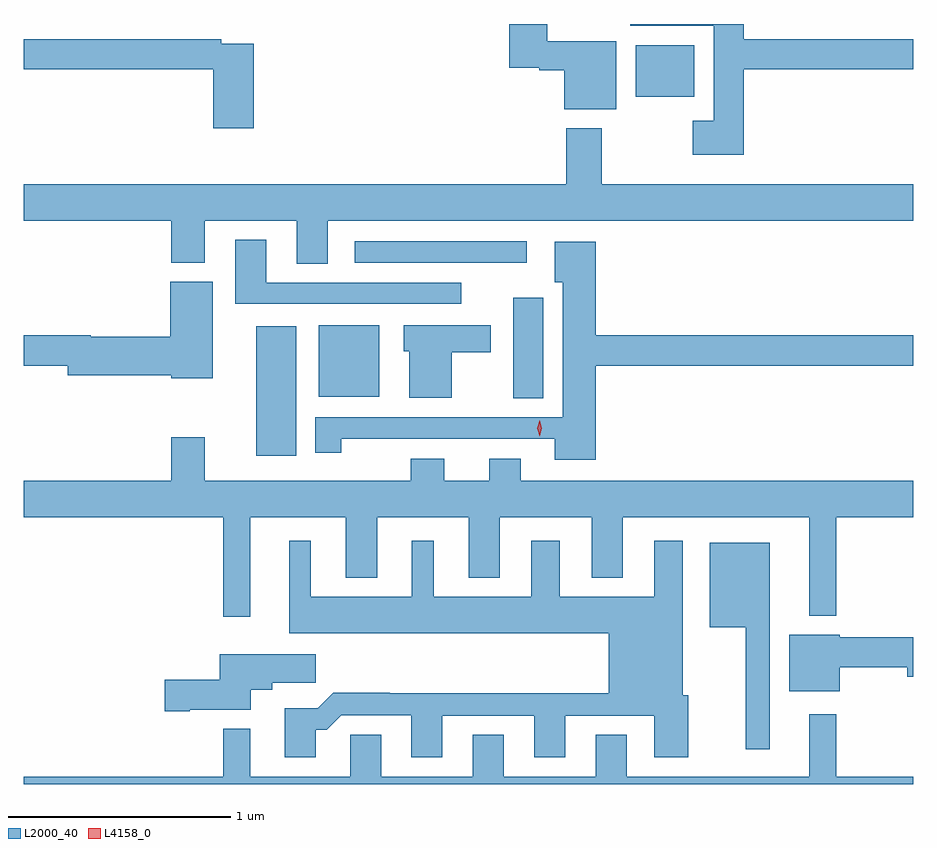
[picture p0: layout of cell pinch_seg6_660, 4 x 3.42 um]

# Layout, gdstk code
import gdstk
lib = gdstk.Library(unit=1e-6, precision=1e-09)
def R(c, l, rs):  # rectangles x0, y0, x1, y1
    for r in rs: c.add(gdstk.rectangle(r[:2], r[2:], *l))
def P(c, l, *ps):  # polygons
    for p in ps: c.add(gdstk.Polygon(p, *l))
L2000_40 = (2000, 40)
L4158_0 = (4158, 0)

pinch_seg6_660 = lib.new_cell('pinch_seg6_660')
R(pinch_seg6_660, L2000_40, [(470.777,916.976,470.956,917.557), (471.932,917.233,472.066,917.686), (471.056,917.24,471.328,917.563), (471.219,917.844,471.991,917.94), (472.481,918.59,472.744,918.82)])
P(pinch_seg6_660, L2000_40, [(472.393,918.838),(472.084,918.838),(472.084,918.916),(471.914,918.916),(471.914,918.719),(472.047,918.719),(472.047,918.707),(472.16,918.707),(472.16,918.533),(472.393,918.533)],
  [(472.967,918.712),(473.73,918.712),(473.73,918.848),(472.967,918.848),(472.967,918.916),(472.457,918.916),(472.457,918.908),(472.832,918.908),(472.832,918.481),(472.737,918.481),(472.737,918.329),(472.967,918.329)],
  [(470.765,918.828),(470.618,918.828),(470.618,918.848),(469.73,918.848),(469.73,918.712),(470.582,918.712),(470.582,918.447),(470.765,918.447)],
  [(471.097,918.032),(473.73,918.032),(473.73,918.196),(472.329,918.196),(472.329,918.448),(472.169,918.448),(472.169,918.196),(469.73,918.196),(469.73,918.032),(470.393,918.032),(470.393,917.843),(470.545,917.843),(470.545,918.032),(470.957,918.032),(470.957,917.839),(471.097,917.839)],
  [(471.697,917.754),(470.821,917.754),(470.821,917.947),(470.681,917.947),(470.681,917.658),(471.697,917.658)],
  [(472.301,917.38),(473.73,917.38),(473.73,917.516),(472.301,917.516),(472.301,917.938),(472.118,917.938),(472.118,917.756),(472.154,917.756),(472.154,917.148),(471.041,917.148),(471.041,916.989),(471.159,916.989),(471.159,917.051),(471.386,917.051),(471.386,917.052),(472.118,917.052),(472.118,916.958),(472.301,916.958)],
  [(470.581,917.758),(470.39,917.758),(470.39,917.51),(470.032,917.51),(470.032,917.516),(469.73,917.516),(469.73,917.38),(469.928,917.38),(469.928,917.338),(470.394,917.338),(470.394,917.324),(470.581,917.324)],
  [(471.655,917.441),(471.829,917.441),(471.829,917.563),(471.44,917.563),(471.44,917.445),(471.464,917.445),(471.464,917.237),(471.655,917.237)],
  [(470.749,916.7),(471.179,916.7),(471.179,916.427),(471.319,916.427),(471.319,916.7),(471.731,916.7),(471.731,916.427),(471.871,916.427),(471.871,916.7),(472.283,916.7),(472.283,916.427),(472.423,916.427),(472.423,916.7),(473.261,916.7),(473.261,916.256),(473.383,916.256),(473.383,916.7),(473.73,916.7),(473.73,916.864),(471.964,916.864),(471.964,916.963),(471.824,916.963),(471.824,916.864),(471.622,916.864),(471.622,916.963),(471.47,916.963),(471.47,916.864),(470.545,916.864),(470.545,917.059),(470.393,917.059),(470.393,916.864),(469.73,916.864),(469.73,916.7),(470.628,916.7),(470.628,916.251),(470.749,916.251)],
  [(471.043,915.743),(471.092,915.743),(471.159,915.81),(471.473,915.81),(471.473,915.621),(471.613,915.621),(471.613,915.807),(472.025,915.807),(472.025,915.621),(472.165,915.621),(472.165,915.807),(472.565,915.807),(472.565,915.621),(472.717,915.621),(472.717,915.9),(472.693,915.9),(472.693,916.594),(472.565,916.594),(472.565,916.342),(472.141,916.342),(472.141,916.594),(472.013,916.594),(472.013,916.342),(471.574,916.342),(471.574,916.594),(471.476,916.594),(471.476,916.342),(471.022,916.342),(471.022,916.594),(470.924,916.594),(470.924,916.178),(472.361,916.178),(472.361,915.908),(471.377,915.908),(471.377,915.911),(471.122,915.911),(471.052,915.841),(470.903,915.841),(470.903,915.621),(471.043,915.621)],
  [(473.083,916.585),(472.814,916.585),(472.814,916.205),(472.977,916.205),(472.977,915.657),(473.083,915.657)],
  [(473.398,916.024),(473.702,916.024),(473.702,915.982),(473.73,915.982),(473.73,916.16),(473.398,916.16),(473.398,916.171),(473.171,916.171),(473.171,915.917),(473.398,915.917)],
  [(470.476,915.833),(470.752,915.833),(470.752,915.923),(470.848,915.923),(470.848,915.955),(471.043,915.955),(471.043,916.084),(470.612,916.084),(470.612,915.968),(470.364,915.968),(470.364,915.826),(470.476,915.826)],
  [(473.73,915.532),(473.383,915.532),(473.383,915.814),(473.261,915.814),(473.261,915.532),(472.441,915.532),(472.441,915.722),(472.301,915.722),(472.301,915.532),(471.889,915.532),(471.889,915.722),(471.749,915.722),(471.749,915.532),(471.337,915.532),(471.337,915.722),(471.198,915.722),(471.198,915.532),(470.749,915.532),(470.749,915.748),(470.628,915.748),(470.628,915.532),(469.73,915.532),(469.73,915.5),(473.73,915.5)])
P(pinch_seg6_660, L4158_0, [(472.05,917.063),(472.05,917.063),(472.04,917.099),(472.051,917.135),(472.051,917.135),(472.051,917.135),(472.06,917.099),(472.05,917.063)])

lib.write_gds('pinch_seg6_660.gds')
